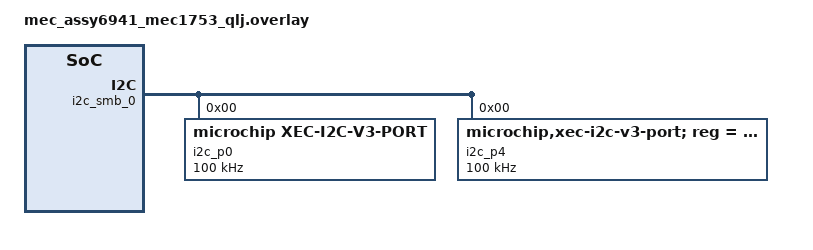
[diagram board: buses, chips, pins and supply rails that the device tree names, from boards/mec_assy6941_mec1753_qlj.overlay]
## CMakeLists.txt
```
# SPDX-License-Identifier: Apache-2.0

cmake_minimum_required(VERSION 3.20.0)

find_package(Zephyr REQUIRED HINTS $ENV{ZEPHYR_BASE})
project(mec5_mux_switch)

target_sources(app PRIVATE src/main.c)
```

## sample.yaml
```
sample:
  name: MEC5 I2C Network-Layer + MUX port-switch sample
  description: |
    Exercises the Microchip MEC5 I2C Network-Layer (DMA) controller and
    the companion per-port MUX driver. Two MUX child ports on different
    SCL/SDA pin pairs and different clock frequencies are alternated so
    the underlying controller is stopped, reset, pinctrl-reapplied, and
    reprogrammed between transfers.
tests:
  sample.drivers.i2c.mec5_mux_switch:
    tags:
      - i2c
      - drivers
    filter: dt_compat_enabled("microchip,mec5-i2c-mux")
    platform_allow:
      - mec_assy6941/mec1753/qlj
    harness: console
    harness_config:
      type: multi_line
      regex:
        - "mec5 mux switch sample"
        - "port 0 .* transfer"
        - "port 3 .* transfer"
```

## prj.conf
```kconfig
CONFIG_I2C=y
CONFIG_I2C_MCHP_MEC5_NL=y
CONFIG_I2C_MCHP_MEC5_MUX=y
CONFIG_I2C_TARGET=y
CONFIG_I2C_TARGET_BUFFER_MODE=y
CONFIG_I2C_CALLBACK=y
CONFIG_DMA=y
CONFIG_DMA_MCHP_XEC=y
CONFIG_LOG=y
CONFIG_LOG_DEFAULT_LEVEL=3
CONFIG_I2C_LOG_LEVEL_INF=y
```

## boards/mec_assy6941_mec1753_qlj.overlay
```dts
/*
 * Copyright (c) 2026 Microchip Technology Inc.
 *
 * SPDX-License-Identifier: Apache-2.0
 *
 * Overlay enabling the MEC5 I2C Network-Layer controller on i2c_smb_0
 * with two MUX child ports on distinct SCL/SDA pin pairs and distinct
 * clock frequencies, so the MUX has something to switch between.
 *
 * The DMA trigger-source numbers below (the second cell of each `dmas`
 * entry) are SoC-specific. Confirm against the MEC1753 reference manual
 * before wiring to real hardware; the values here follow the typical
 * MEC5 convention where the four I2C_SMB0 endpoints occupy the first
 * contiguous run of DMA device IDs.
 */

#include <zephyr/dt-bindings/dma/mchp_xec_cdma.h>
#include <zephyr/dt-bindings/i2c/i2c.h>

&cdma {
	status = "okay";
};

&i2c_smb_0 {
	compatible = "microchip,xec-i2c-v3-nl";
	status = "okay";
	#address-cells = <1>;
	#size-cells = <0>;
	buffer-size = <64>;

	/* <&dmac CHANNEL TRIGSRC>, order must be host-tx-rx,
	 * target-tx-rx, (matches dma-names below).
	 */
	dmas = <&cdma 0  MCHP_XEC_DMA_I2C0_HOST>,
	       <&cdma 1  MCHP_XEC_DMA_I2C0_TARG>;
	dma-names = "host-tx-rx", "target-tx-rx";

	i2c_p0: i2c-port@0 {
		compatible = "microchip,xec-i2c-v3-port";
		reg = <0>;
		port = <MCHP_XEC_I2C_CTRL_PORT(0, 0)>;
		controller = <&i2c_smb_0>;
		clock-frequency = <I2C_BITRATE_STANDARD>;
		pinctrl-0 = <&i2c00_scl_gpio004 &i2c00_sda_gpio003>;
		pinctrl-names = "default";
		status = "okay";
	};

	i2c_p4: i2c-port@4 {
		compatible = "microchip,xec-i2c-v3-port;
		reg = <0>;
		port = <MCHP_XEC_I2C_CTRL_PORT(0, 4)>;
		controller = <&i2c_smb_0>;
		clock-frequency = <I2C_BITRATE_STANDARD>;
		pinctrl-0 = <&i2c04_sda_gpio143 &i2c04_scl_gpio144>;
		pinctrl-names = "default";
		status = "okay";
	};

	i2c_p5: i2c-port@5 {
		compatible = "microchip,xec-i2c-v3-port;
		reg = <0>;
		port = <MCHP_XEC_I2C_CTRL_PORT(0, 5)>;
		controller = <&i2c_smb_0>;
		clock-frequency = <I2C_BITRATE_STANDARD>;
		pinctrl-0 = <&i2c05_sda_gpio141 &i2c05_scl_gpio142>;
		pinctrl-names = "default";
		status = "okay";
	};
};
```

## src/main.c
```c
/*
 * Copyright (c) 2026 Microchip Technology Inc.
 *
 * SPDX-License-Identifier: Apache-2.0
 *
 * Sample exercising the Microchip MEC5 I2C Network-Layer (DMA) driver
 * and its companion per-port MUX. The overlay wires two MUX child
 * ports on distinct SCL/SDA pin pairs and clock frequencies; the app
 * alternates transfers between them so the MUX has to stop+reset the
 * controller, reapply PINCTRL, and reprogram port/timing each switch.
 *
 * The sample is self-contained: it does not require a real peripheral
 * on the bus. Each transfer targets an arbitrary 7-bit address so the
 * attempt will NAK on open lines. A NAK is a valid hardware response
 * (it proves the controller and DMA completed a full START-to-STOP);
 * the log distinguishes "ACKed" / "NAKed (no device)" / "bus error".
 */

#include <zephyr/kernel.h>
#include <zephyr/device.h>
#include <zephyr/drivers/i2c.h>
#include <zephyr/logging/log.h>
#include <errno.h>

LOG_MODULE_REGISTER(mec5_mux_switch, LOG_LEVEL_INF);

#define PORT0_NODE  DT_NODELABEL(i2c_port0)
#define PORT3_NODE  DT_NODELABEL(i2c_port3)

BUILD_ASSERT(DT_NODE_HAS_STATUS(PORT0_NODE, okay),
	     "i2c_port0 node must be enabled in overlay");
BUILD_ASSERT(DT_NODE_HAS_STATUS(PORT3_NODE, okay),
	     "i2c_port3 node must be enabled in overlay");

#define DUMMY_ADDR_A 0x50  /* arbitrary unassigned 7-bit addr */
#define DUMMY_ADDR_B 0x51

static const char *describe(int rc)
{
	switch (rc) {
	case 0:       return "ACKed";
	case -ENXIO:  return "NAKed (no device)";
	case -EIO:    return "bus error";
	case -ETIMEDOUT: return "timeout";
	default:      return "unknown error";
	}
}

static void do_write(const struct device *bus, const char *tag,
		     uint16_t addr)
{
	uint8_t buf[4] = { 0xA0, 0xDE, 0xAD, 0xBE };
	int rc = i2c_write(bus, buf, sizeof(buf), addr);

	LOG_INF("%s  4B write  @0x%02x -> %s (%d)",
		tag, addr, describe(rc), rc);
}

static void do_read(const struct device *bus, const char *tag,
		    uint16_t addr)
{
	uint8_t buf[8] = {0};
	int rc = i2c_read(bus, buf, sizeof(buf), addr);

	LOG_INF("%s  8B read   @0x%02x -> %s (%d)",
		tag, addr, describe(rc), rc);
}

static void do_write_read(const struct device *bus, const char *tag,
			  uint16_t addr)
{
	uint8_t reg = 0x00;
	uint8_t rx[4] = {0};
	int rc = i2c_write_read(bus, addr, &reg, 1, rx, sizeof(rx));

	LOG_INF("%s  wr-rd     @0x%02x -> %s (%d)",
		tag, addr, describe(rc), rc);
}

static void do_big_write(const struct device *bus, const char *tag,
			 uint16_t addr)
{
	/* Larger than the 64-byte DMA buffer in the overlay, so the
	 * controller-TX chunking path fires (multiple DMA reloads
	 * across a single START-to-STOP on the wire).
	 */
	static uint8_t big[200];
	for (size_t i = 0; i < sizeof(big); i++) {
		big[i] = (uint8_t)i;
	}

	int rc = i2c_write(bus, big, sizeof(big), addr);

	LOG_INF("%s  200B write @0x%02x -> %s (%d)",
		tag, addr, describe(rc), rc);
}

int main(void)
{
	const struct device *port0 = DEVICE_DT_GET(PORT0_NODE);
	const struct device *port3 = DEVICE_DT_GET(PORT3_NODE);

	LOG_INF("mec5 mux switch sample");

	if (!device_is_ready(port0)) {
		LOG_ERR("port0 device not ready");
		return -ENODEV;
	}
	if (!device_is_ready(port3)) {
		LOG_ERR("port3 device not ready");
		return -ENODEV;
	}

	LOG_INF("port0 = %s (100 kHz)", port0->name);
	LOG_INF("port3 = %s (400 kHz)", port3->name);

	for (unsigned int round = 0; round < 3; round++) {
		LOG_INF("--- round %u ---", round);

		do_write(port0,      "port 0", DUMMY_ADDR_A);
		do_read(port3,       "port 3", DUMMY_ADDR_B);
		do_write_read(port0, "port 0", DUMMY_ADDR_A);
		do_write_read(port3, "port 3", DUMMY_ADDR_B);
		do_big_write(port0,  "port 0", DUMMY_ADDR_A);

		k_sleep(K_MSEC(50));
	}

	LOG_INF("sample done");
	return 0;
}
```
